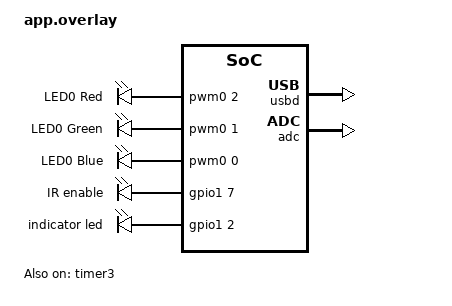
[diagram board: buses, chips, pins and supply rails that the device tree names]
/ {
	chosen {
		/*
		 * In some default configurations within the nRF Connect SDK,
		 * e.g. on nRF52840 and nRF9160, the chosen zephyr,entropy node
		 * is &cryptocell. This devicetree overlay ensures that default
		 * is overridden wherever it is set, as this application uses
		 * the RNG node for entropy exclusively.
		 */
		zephyr,entropy = &rng;
	};
	/* Configure DTS nodes used for USB next HID support. */
	hid_dev_0: hid_dev_0 {
		compatible = "zephyr,hid-device";
		interface-name = "HID0";
		protocol-code = "mouse";
		in-polling-period-us = <1000>;
		in-report-size = <64>;
	};

	pwmleds0 {
		compatible = "pwm-leds";
		status = "okay";
		led0_r: led_pwm_0 {
			pwms = <&pwm0 2 PWM_MSEC(1) PWM_POLARITY_INVERTED>;
			label = "LED0 Red";
		};

		led0_g: led_pwm_1 {
			pwms = <&pwm0 1 PWM_MSEC(1) PWM_POLARITY_INVERTED>;
			label = "LED0 Green";
		};

		led0_b: led_pwm_2 {
			pwms = <&pwm0 0 PWM_MSEC(1) PWM_POLARITY_INVERTED>;
			label = "LED0 Blue";
		};
	};

	// battery_charger: battery_charger {
	// 	compatible = "battery-charger";
	// 	cso-gpios = <&gpio0 26 (GPIO_ACTIVE_HIGH)>;
	// 	cso-switching-freq = <1000>;
	// 	enable-gpios = <&gpio1 12 GPIO_ACTIVE_LOW>;
	// };

	userpin{
        compatible = "gpio-leds";
        iren: ir_en{
            gpios = <&gpio1 7 (GPIO_ACTIVE_HIGH)>;
			label = "IR enable";
        };
		indicator: indicator {
			gpios = <&gpio1 2 (GPIO_PULL_DOWN | GPIO_ACTIVE_HIGH)>;
			label = "indicator led";
		};
    };
};

&usbd {
	compatible = "nordic,nrf-usbd";
	status = "okay";
	num-bidir-endpoints = <0>;
	num-in-endpoints = <2>;
	num-out-endpoints = <2>;
	num-isoin-endpoints = <0>;
	num-isoout-endpoints = <0>;
};

&adc {
	status = "okay";
};

&timer3 {
	status = "okay";
};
